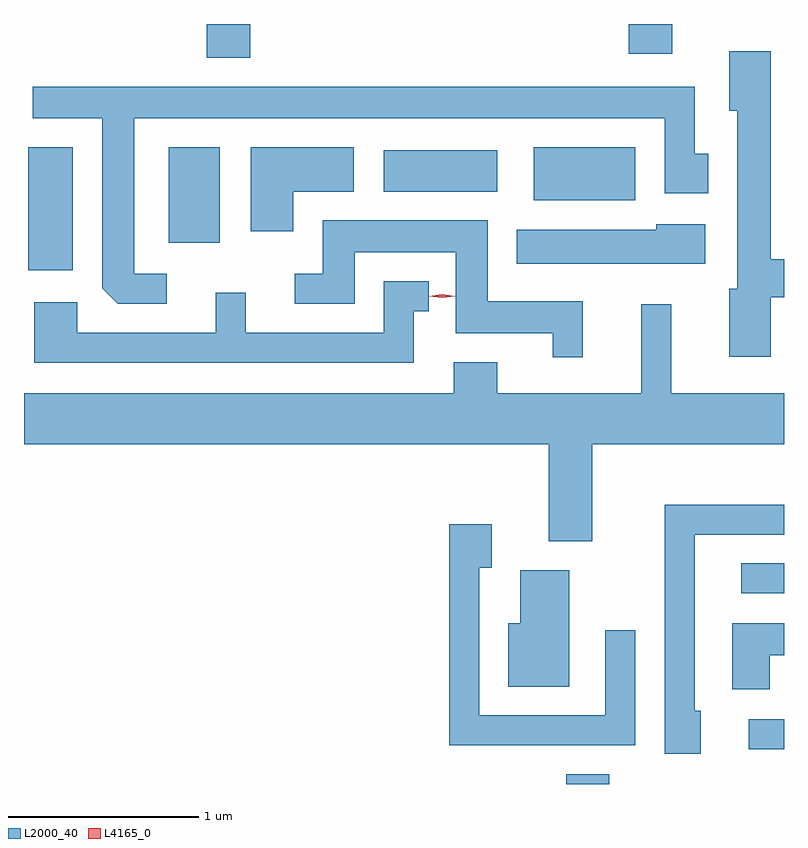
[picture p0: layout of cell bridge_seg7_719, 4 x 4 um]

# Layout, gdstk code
import gdstk
lib = gdstk.Library(unit=1e-6, precision=1e-09)
def R(c, l, rs):  # rectangles x0, y0, x1, y1
    for r in rs: c.add(gdstk.rectangle(r[:2], r[2:], *l))
def P(c, l, *ps):  # polygons
    for p in ps: c.add(gdstk.Polygon(p, *l))
L2000_40 = (2000, 40)
L4165_0 = (4165, 0)

bridge_seg7_719 = lib.new_cell('bridge_seg7_719')
R(bridge_seg7_719, L2000_40, [(543.351,1743.608,543.579,1743.659), (544.313,1743.791,544.498,1743.949), (544.273,1744.611,544.498,1744.769), (540.521,1746.311,540.754,1746.959), (541.261,1746.456,541.529,1746.959), (543.181,1746.681,543.714,1746.959), (542.391,1746.726,542.989,1746.944), (541.461,1747.431,541.689,1747.608), (543.681,1747.451,543.909,1747.608)])
P(bridge_seg7_719, L2000_40, [(544.429,1746.171),(544.498,1746.171),(544.498,1746.369),(544.429,1746.369),(544.429,1747.464),(544.211,1747.464),(544.211,1747.151),(544.251,1747.151),(544.251,1746.214),(544.211,1746.214),(544.211,1745.856),(544.429,1745.856)],
  [(541.248,1746.294),(541.079,1746.294),(541.079,1747.111),(543.871,1747.111),(543.871,1746.716),(544.099,1746.716),(544.099,1746.924),(544.029,1746.924),(544.029,1747.279),(540.543,1747.279),(540.543,1747.111),(540.911,1747.111),(540.911,1746.217),(540.992,1746.136),(541.248,1746.136)],
  [(541.914,1746.726),(542.234,1746.726),(542.234,1746.959),(541.691,1746.959),(541.691,1746.516),(541.914,1746.516)],
  [(543.439,1746.149),(542.939,1746.149),(542.939,1746.574),(542.071,1746.574),(542.071,1746.294),(541.923,1746.294),(541.923,1746.136),(542.239,1746.136),(542.239,1746.406),(542.771,1746.406),(542.771,1745.981),(543.281,1745.981),(543.281,1745.853),(543.439,1745.853)],
  [(544.084,1746.554),(543.826,1746.554),(543.826,1746.524),(543.091,1746.524),(543.091,1746.346),(544.084,1746.346)],
  [(542.549,1746.096),(542.628,1746.096),(542.628,1746.254),(542.391,1746.254),(542.391,1745.984),(541.664,1745.984),(541.664,1746.193),(541.506,1746.193),(541.506,1745.984),(540.779,1745.984),(540.779,1746.144),(540.551,1746.144),(540.551,1745.826),(542.549,1745.826)],
  [(543.489,1745.396),(544.498,1745.396),(544.498,1745.664),(543.904,1745.664),(543.904,1746.133),(543.746,1746.133),(543.746,1745.664),(542.989,1745.664),(542.989,1745.829),(542.761,1745.829),(542.761,1745.664),(540.498,1745.664),(540.498,1745.396),(543.261,1745.396),(543.261,1744.886),(543.489,1744.886)],
  [(544.059,1743.994),(544.029,1743.994),(544.029,1744.921),(544.498,1744.921),(544.498,1745.079),(543.871,1745.079),(543.871,1743.766),(544.059,1743.766)],
  [(543.714,1744.418),(543.556,1744.418),(543.556,1743.969),(542.894,1743.969),(542.894,1744.746),(542.959,1744.746),(542.959,1744.974),(542.736,1744.974),(542.736,1743.811),(543.714,1743.811)],
  [(543.369,1744.734),(543.111,1744.734),(543.111,1744.454),(543.046,1744.454),(543.046,1744.121),(543.369,1744.121)],
  [(544.424,1744.286),(544.498,1744.286),(544.498,1744.454),(544.226,1744.454),(544.226,1744.106),(544.424,1744.106)])
P(bridge_seg7_719, L4165_0, [(542.698,1746.166),(542.629,1746.175),(542.629,1746.175),(542.629,1746.176),(542.698,1746.186),(542.768,1746.176),(542.768,1746.176),(542.768,1746.175)])

lib.write_gds('bridge_seg7_719.gds')
